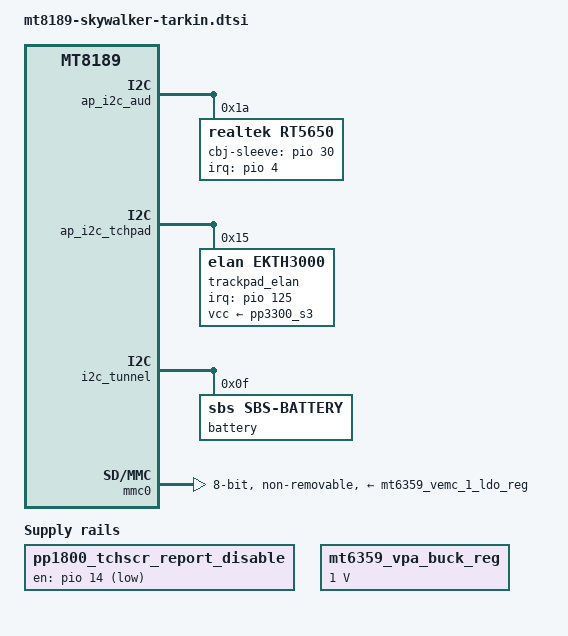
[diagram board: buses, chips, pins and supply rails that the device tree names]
// SPDX-License-Identifier: (GPL-2.0 OR MIT)
/*
 * Copyright (C) 2025 Google Inc.
 */
/dts-v1/;
#include "mt8189-skywalker.dtsi"

/ {
	pp1800_tchscr_report_disable: regulator-pp1800-tchscr-report-disable {
		compatible = "regulator-fixed";
		regulator-name = "pp1800_tchscr_report_disable";
		pinctrl-names = "default";
		regulator-boot-on;
		pinctrl-0 = <&touch_pin_report>;
		gpio = <&pio 14 GPIO_ACTIVE_LOW>;
	};
};

&ap_i2c_aud {
	/delete-node/ audio-codec@1a;

	rt5650: audio-codec@1a {
		compatible = "realtek,rt5650";
		reg = <0x1a>;
		pinctrl-names = "default";
		pinctrl-0 = <&audio_codec_pins>;
		cbj-sleeve-gpio = <&pio 30 GPIO_ACTIVE_HIGH>;
		interrupts-extended = <&pio 4 IRQ_TYPE_EDGE_BOTH>;
		#sound-dai-cells = <0>;
		realtek,dmic1-data-pin = <2>;
		realtek,jd-mode = <2>;
		status = "okay";
	};
};

&ap_i2c_tchpad {
	/delete-node/ trackpad@15;

	trackpad_elan: trackpad@15 {
		compatible = "elan,ekth3000";
		reg = <0x15>;
		interrupts-extended = <&pio 125 IRQ_TYPE_LEVEL_LOW>;
		pinctrl-names = "default";
		pinctrl-0 = <&trackpad_pins>;
		wakeup-source;
		vcc-supply = <&pp3300_s3>;
		status = "okay";
	};
};

&ap_i2c_tchscr {
	/delete-node/ touchscreen@41;

        touchscreen_elan: touchscreen@10 {
		compatible = "elan,ekth3500";
		reg = <0x10>;
		interrupts-extended = <&pio 15 IRQ_TYPE_LEVEL_LOW>;
		pinctrl-names = "default";
		pinctrl-0 = <&touchscreen_pins>;
		reset-gpios = <&pio 126 GPIO_ACTIVE_LOW>;
		vcc33-supply = <&pp3300_tchscr_x>;
		vccio-supply = <&pp1800_tchscr_report_disable>;
		status = "fail-needs-probe";
	};

	touchscreen_parade: touchscreen@24 {
		compatible = "parade,tc3408";
		reg = <0x24>;
		interrupts-extended = <&pio 15 IRQ_TYPE_LEVEL_LOW>;
		pinctrl-names = "default";
		pinctrl-0 = <&touchscreen_pins>;
		reset-gpios = <&pio 126 GPIO_ACTIVE_LOW>;
		vcc33-supply = <&pp3300_tchscr_x>;
		vccio-supply = <&pp1800_tchscr_report_disable>;
		status = "fail-needs-probe";
	};
};

&ap_sar_sensor {
	status = "disabled";
};

&audio_codec_pins {
	pins-en-codec-pwr-soc {
		pinmux = <PINMUX_GPIO30__FUNC_GPIO30>;
		output-low;
	};
};

&cros_ec {
	spi-max-frequency = <1000000>;
};

&hdmibrdg {
	ivdd-supply = <&mt6359_vpa_buck_reg>;
};

&i2c_tunnel {
	/delete-node/ sbs-battery@b;
	battery: sbs-battery@f {
		compatible = "sbs,sbs-battery";
		reg = <0xf>;
		sbs,i2c-retry-count = <2>;
		sbs,poll-retry-count = <1>;
	};
};

&mmc0 {
	pinctrl-names = "default", "state_uhs";
	pinctrl-0 = <&mmc0_pins_default>;
	pinctrl-1 = <&mmc0_pins_uhs>;
	bus-width = <8>;
	max-frequency = <200000000>;
	cap-mmc-highspeed;
	mmc-hs200-1_8v;
	mmc-hs400-1_8v;
	mmc-hs400-enhanced-strobe;
	supports-cqe;
	cap-mmc-hw-reset;
	no-sdio;
	no-sd;
	non-removable;
	hs400-ds-delay = <0x1481b>;
	mediatek,hs400-ds-dly3 = <0x14>;
	vmmc-supply = <&mt6359_vemc_1_ldo_reg>;
	vqmmc-supply = <&mt6359_vufs_ldo_reg>;
	status = "okay";
};

&mt6359_vpa_buck_reg {
	regulator-min-microvolt = <1000000>;
	regulator-max-microvolt = <1000000>;
};

&pio{
	/* 182 lines */
	gpio-line-names =
		"",				/* 0 */
		"",
		"AP_SCP_GPIO02",
		"AP_SCP_GPIO03",
		"HP_INT_ODL",
		"",
		"",
		"USB3_HUB_RST_L",
		"",
		"",
		"",				/* 10 */
		"",
		"TP",
		"EDP_BL_EN_1V8",
		"TCHSCR_REPORT_DISABLE",
		"TCHSCR_INT_1V8_ODL",
		"AP_FLASH_WP_L",
		"EC_AP_DPOC_EN_ODL",
		"",
		"",
		"",				/* 20 */
		"",
		"",
		"",
		"",
		"EN_PP3300_EDP_X",
		"",
		"EC_AP_DP_HPD_L",
		"EDP_HPD_1V8",
		"BL_PWM_1V8",
		"CODEC_PWR_SOC_EN",		/* 30 */
		"UART_AP_TX_GSC_DBG_RX",
		"UART_GSC_DBG_TX_AP_RX",
		"AP_UART1_TXD",
		"AP_UART1_RXD",
		"AP_UART2_TXD",
		"AP_UART2_RXD",
		"AP_UART3_TXD",
		"AP_UART3_RXD",
		"AP_JTAG_TMS",
		"AP_JTAG_TCK",			/* 40 */
		"AP_JTAG_TDI",
		"AP_JTAG_TDO",
		"AP_JTAG_TRST_L",
		"AP_KPCOL0",
		"TP",
		"TP",
		"TP",
		"PCIE_WLAN_WAKE_OBFF_1V8_ODL",
		"PCIE_WLAN_RST_1V8_L",
		"PCIE_WLAN_CLKREQ_1V8_ODL",	/* 50 */
		"",
		"",
		"TP",
		"TP",
		"AP_I2C_AUD_SCL_1V8",
		"AP_I2C_AUD_SDA_1V8",
		"AP_I2C_TPM_SCL_1V8",
		"AP_I2C_TPM_SDA_1V8",
		"AP_I2C_TCHSCR_SCL_1V8",
		"AP_I2C_TCHSCR_SDA_1V8",	/* 60 */
		"",
		"",
		"AP_I2C_HDMI_SCL_1V8",
		"AP_I2C_HDMI_SDA_1V8",
		"AP_I2C_TCHPAD_SCL_1V8",
		"AP_I2C_TCHPAD_SDA_1V8",
		"TP",
		"TP",
		"SPI_AP_CS_EC_L",
		"SPI_AP_CLK_EC",		/* 70 */
		"SPI_AP_DO_EC_DI",
		"SPI_AP_DI_EC_DO",
		"TP",
		"TP",
		"TP",
		"TP",
		"",
		"",
		"",
		"",				/* 80 */
		"",
		"",
		"",
		"",
		"",
		"",
		"",
		"PWRAP_SPI_CS_L",
		"PWRAP_SPI_CK",
		"PWRAP_SPI_MOSI",		/* 90 */
		"PWRAP_SPI_MISO",
		"SRCLKENA0",
		"SRCLKENA1",
		"SCP_VREQ_VAO",
		"AP_RTC_CLK32K",
		"AP_PMIC_WDTRST_L",
		"AUD_CLK_MOSI (Strap)",
		"AUD_SYNC_MOSI (Strap)",
		"AUD_DAT_MOSI0 (Strap)",
		"AUD_DAT_MOSI1 (Strap)",	/* 100 */
		"AUD_DAT_MISO0 (Strap)",
		"AUD_DAT_MISO1 (Strap)",
		"TP",
		"TP",
		"TP",
		"I2S_HP_DI",
		"I2S_HP_MCK",
		"I2S_HP_BCK",
		"I2S_HP_LRCK",
		"I2S_HP_DO",			/* 110 */
		"",
		"",
		"",
		"",
		"PCM_HDMI_CLK",
		"PCM_HDMI_SYNC",
		"TP",
		"PCM_HDMI_DO",
		"DMIC0_CLK",
		"DMIC0_DATA",			/* 120 */
		"",
		"",
		"",
		"",
		"TCHPAD_INT_ODL",
		"TCHSCR_RST_1V8_L",
		"AP_HDMI_RST_ODL",
		"HDMI_AP_INT_ODL",
		"TP",
		"",				/* 130 */
		"AP_XHCI_INIT_DONE",
		"EC_AP_INT_ODL",
		"TP",
		"TP",
		"EN_HDMI_PWR",
		"",
		"AP_EC_WARM_RST_REQ",
		"GSC_AP_INT_ODL",
		"HDMI_HPD_1V8_ODL",
		"AP_SUSPEND_L ",		/* 140 */
		"EC_AP_RSVD0_ODL",
		"EC_AP_RSVD1_ODL",
		"MT6319B_INT",
		"",
		"BT_KILL_1V8_L",
		"WIFI_KILL_1V8_L",
		"",
		"",
		"",
		"SPI_AP_CLK_BIOS",		/* 150 */
		"SPI_AP_CS_BIOS_L",
		"SPI_AP_DO_BIOS_DI",
		"SPI_AP_DI_BIOS_DO",
		"TP",
		"TP",
		"EMMC_DATA7",
		"EMMC_DATA6",
		"EMMC_DATA5",
		"EMMC_DATA4",
		"EMMC_RST_L",			/* 160 */
		"EMMC_CMD",
		"EMMC_CLK",
		"EMMC_DATA3",
		"EMMC_DATA2",
		"EMMC_DATA1",
		"EMMC_DATA0",
		"EMMC_STRB",
		"",
		"",
		"",				/* 170 */
		"",
		"",
		"",
		"",
		"",
		"",
		"",
		"",
		"",
		"SPMI_SCL",			/* 180 */
		"SPMI_SDA",
		"EMI_RESET_N";

	touch_pin_report: pin-report-pins {
		pins-touch-en {
			pinmux = <PINMUX_GPIO14__FUNC_GPIO14>;
			output-low;
		};
	};

	mmc0_pins_default: mmc0-default-pins {
		pins-cmd-dat {
			pinmux = <PINMUX_GPIO156__FUNC_MSDC0_DAT7>,
				 <PINMUX_GPIO157__FUNC_MSDC0_DAT6>,
				 <PINMUX_GPIO158__FUNC_MSDC0_DAT5>,
				 <PINMUX_GPIO159__FUNC_MSDC0_DAT4>,
				 <PINMUX_GPIO161__FUNC_MSDC0_CMD>,
				 <PINMUX_GPIO163__FUNC_MSDC0_DAT3>,
				 <PINMUX_GPIO164__FUNC_MSDC0_DAT2>,
				 <PINMUX_GPIO165__FUNC_MSDC0_DAT1>,
				 <PINMUX_GPIO166__FUNC_MSDC0_DAT0>;
			input-enable;
			drive-strength = <6>;
			bias-pull-up = <MTK_PUPD_SET_R1R0_01>;
		};
		pins-clk {
			pinmux = <PINMUX_GPIO162__FUNC_MSDC0_CLK>;
			drive-strength = <6>;
			bias-pull-down = <MTK_PUPD_SET_R1R0_10>;
		};
		pins-rst {
			pinmux = <PINMUX_GPIO160__FUNC_MSDC0_RSTB>;
			drive-strength = <6>;
			bias-pull-up = <MTK_PUPD_SET_R1R0_00>;
		};
	};

	mmc0_pins_uhs: mmc0-uhs-pins@0{
		pins-cmd-dat {
			pinmux = <PINMUX_GPIO156__FUNC_MSDC0_DAT7>,
				 <PINMUX_GPIO157__FUNC_MSDC0_DAT6>,
				 <PINMUX_GPIO158__FUNC_MSDC0_DAT5>,
				 <PINMUX_GPIO159__FUNC_MSDC0_DAT4>,
				 <PINMUX_GPIO161__FUNC_MSDC0_CMD>,
				 <PINMUX_GPIO163__FUNC_MSDC0_DAT3>,
				 <PINMUX_GPIO164__FUNC_MSDC0_DAT2>,
				 <PINMUX_GPIO165__FUNC_MSDC0_DAT1>,
				 <PINMUX_GPIO166__FUNC_MSDC0_DAT0>;
			input-enable;
			drive-strength = <8>;
			bias-pull-up = <MTK_PUPD_SET_R1R0_01>;
		};
		pins-clk {
			pinmux = <PINMUX_GPIO162__FUNC_MSDC0_CLK>;
			drive-strength = <8>;
			bias-pull-down = <MTK_PUPD_SET_R1R0_10>;
		};
		pins-ds {
			pinmux = <PINMUX_GPIO167__FUNC_MSDC0_DSL>;
			drive-strength = <8>;
			bias-pull-down = <MTK_PUPD_SET_R1R0_10>;
		};
		pins-rst {
			pinmux = <PINMUX_GPIO160__FUNC_MSDC0_RSTB>;
			bias-pull-up = <MTK_PUPD_SET_R1R0_00>;
		};
	};
};

&pmic {
	/delete-node/ mt6359codec;
};

&rt9123 {
	status = "disabled";
};

&sound {
	compatible = "mediatek,mt8189-rt5650-sound";
	model = "mt8189_rt5650";

	dai-link-0 {
		link-name = "I2SOUT0_BE";
		mediatek,clk-provider = "cpu";

		codec {
			sound-dai = <&rt5650>;
		};
	};

	dai-link-1 {
		link-name = "I2SIN0_BE";
		mediatek,clk-provider = "cpu";

		codec {
			sound-dai = <&rt5650>;
		};
	};
	/delete-node/ dai-link-2;
};

&spi1 {
	status = "disabled";
};

&touchscreen_pins {
	/delete-node/ pins-touch-en;
};

&ufshci {
        status = "disabled";
};

/* USB hub port 1 */
&usb_hub_dsp1_hs {
	remote-endpoint = <&usb_c1_hs>;
};

&usb_c1_hs {
	remote-endpoint = <&usb_hub_dsp1_hs>;
};

&usb_hub_dsp1_ss {
	remote-endpoint = <&usb_c1_ss>;
};

&usb_c1_ss {
	remote-endpoint = <&usb_hub_dsp1_ss>;
};

/* USB hub port 2 */
&usb_hub_dsp2_hs {
	remote-endpoint = <&usb_a0_hs>;
};

&usb_a0_hs {
	remote-endpoint = <&usb_hub_dsp2_hs>;
};

&usb_hub_dsp2_ss {
	remote-endpoint = <&usb_a0_ss>;
};

&usb_a0_ss {
	remote-endpoint = <&usb_hub_dsp2_ss>;
};

/* USB hub port 3 */
&usb_hub_dsp3_hs {
	remote-endpoint = <&usb_c0_hs>;
};

&usb_c0_hs {
	remote-endpoint = <&usb_hub_dsp3_hs>;
};

&usb_hub_dsp3_ss {
	remote-endpoint = <&usb_c0_ss>;
};

&usb_c0_ss {
	remote-endpoint = <&usb_hub_dsp3_ss>;
};

/* USB hub port 4 */
&usb_hub_dsp4_hs {
	remote-endpoint = <&usb_a1_hs>;
};

&usb_a1_hs {
	remote-endpoint = <&usb_hub_dsp4_hs>;
};

&usb_hub_dsp4_ss {
	remote-endpoint = <&usb_a1_ss>;
};

&usb_a1_ss {
	remote-endpoint = <&usb_hub_dsp4_ss>;
};
